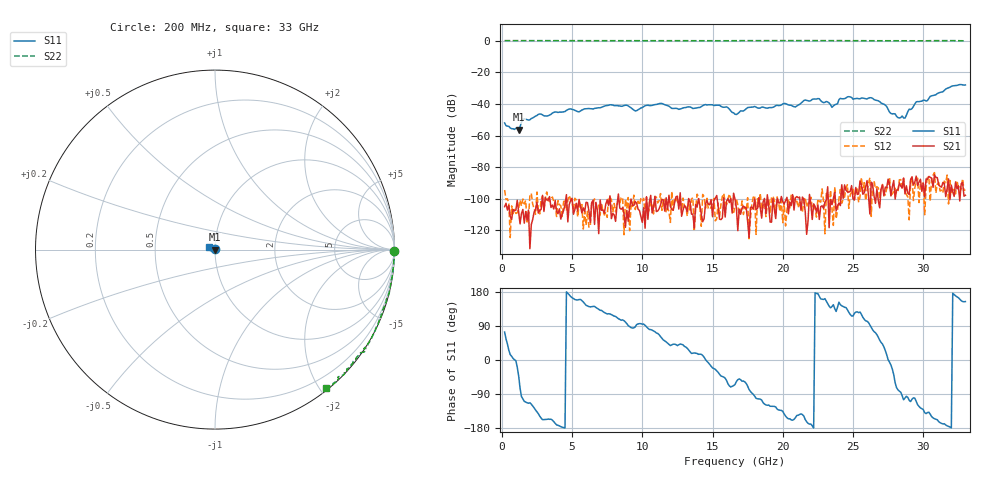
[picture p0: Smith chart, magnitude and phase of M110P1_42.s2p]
# GHZ S RI R 50
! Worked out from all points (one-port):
!   329 points, 200 MHz to 33 GHz, reference 50 ohm
!   lowest |S11| = -56.2 dB at 1.2 GHz (marker M1), VSWR 1.00, Z = 50.1 - j0.104 ohm
!   |S11| at or under -10 dB: start of sweep to end of sweep
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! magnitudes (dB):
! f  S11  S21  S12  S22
! 200 MHz  -52.0  -105.0  -94.4  0.0
! 1.2 GHz  -56.2  -108.1  -106.4  0.0
! 1.5 GHz  -49.9  -106.7  -100.1  0.0
! 2.6 GHz  -46.6  -109.0  -107.3  0.0
! 5.7 GHz  -43.9  -108.8  -103.6  0.0
! 7.8 GHz  -40.6  -112.5  -100.6  0.0
! 9.5 GHz  -44.4  -101.7  -106.7  0.0
! 11.2 GHz  -39.8  -106.3  -101.1  0.0
! 12.6 GHz  -43.4  -106.5  -104.4  0.0
! 15.5 GHz  -40.9  -112.8  -111.1  0.0
! 16.6 GHz  -46.5  -100.2  -105.0  0.0
! 18 GHz  -41.6  -100.1  -98.0  0.0
! 20.9 GHz  -41.9  -99.3  -102.3  0.0
! 22.1 GHz  -37.1  -113.0  -105.8  0.0
! 23.2 GHz  -38.8  -92.4  -95.9  0.0
! 23.5 GHz  -42.2  -103.6  -106.0  0.0
! 24.1 GHz  -36.5  -104.3  -94.0  0.0
! 26.3 GHz  -36.1  -89.5  -111.1  -0.1
! 27.6 GHz  -45.2  -90.6  -86.5  0.0
! 28.7 GHz  -49.0  -96.9  -95.5  0.0
! 29.5 GHz  -38.7  -85.6  -88.6  0.0
! 33 GHz  -28.0  -97.7  -94.4  -0.1
